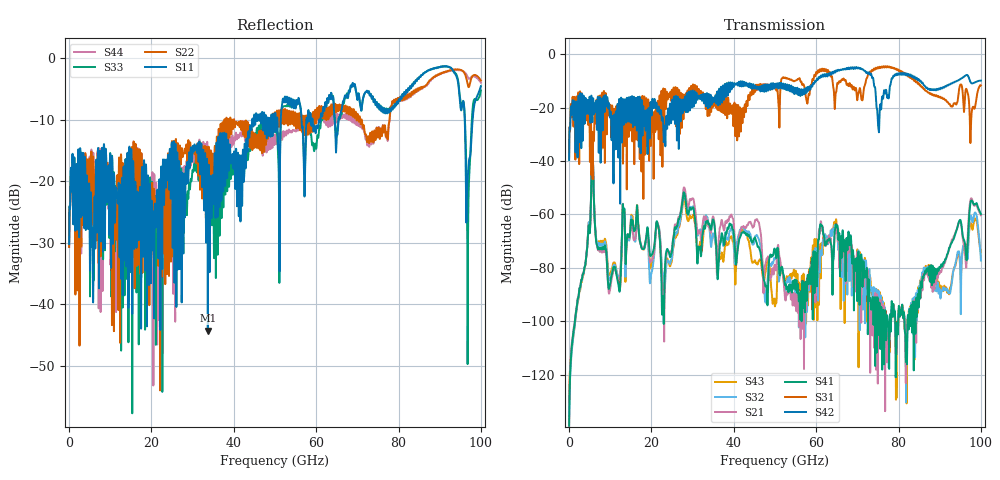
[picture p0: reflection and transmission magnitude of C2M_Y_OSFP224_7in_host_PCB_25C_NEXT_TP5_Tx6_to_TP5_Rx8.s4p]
# GHz S RI R 45
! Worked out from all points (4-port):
!   4000 points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, 25 MHz to 100 GHz, reference 45 ohm
!   strongest paths, dB at 25 MHz, 25.02 GHz, 50.02 GHz, 75.03 GHz, 100 GHz:
!     S42: -39.6, -17.0, -11.1, -26.4, -9.9
!     S31: -38.6, -13.7, -12.1, -4.9, -11.6
!     S41: -139.1, -73.5, -73.3, -92.6, -59.8
!     S21: -139.5, -72.7, -78.9, -100.5, -60.3
!     S32: -135.4, -75.9, -76.8, -96.9, -77.3
!     S43: -130.9, -76.7, -94.4, -88.3, -73.9
!   lowest |S11| = -44.3 dB at 33.7 GHz (marker M1), VSWR 1.01, Z = 45.3 - j0.454 ohm
!   |S11| at or under -10 dB: start of sweep to 44.49 GHz; 59.15 GHz to 60.73 GHz (1.575 GHz wide, 2.63 % of centre); 96.08 GHz to 98 GHz (1.927 GHz wide, 1.99 % of centre)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
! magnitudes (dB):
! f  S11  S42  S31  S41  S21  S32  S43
! 25 MHz  -30.2  -39.6  -38.6  -139.1  -139.5  -135.4  -130.9
! 3.775 GHz  -17.9  -25.1  -20.2  -79.9  -79.7  -79.9  -80.3
! 5.7 GHz  -30.3  -21.4  -33.4  -40.7  -40.7  -40.6  -40.6
! 9.85 GHz  -20.7  -21.8  -22.8  -86.9  -89.0  -84.5  -82.6
! 33.7 GHz  -44.3  -20.0  -21.4  -62.6  -62.9  -61.7  -62.5
! 89.38 GHz  -1.5  -13.0  -15.8  -81.6  -82.8  -87.3  -83.8
! 100 GHz  -4.6  -9.9  -11.6  -59.8  -60.3  -77.3  -73.9
